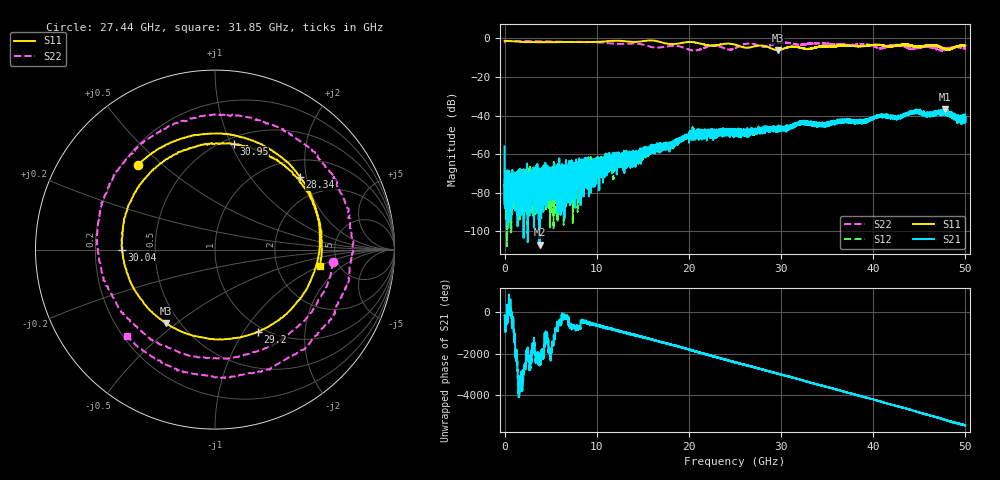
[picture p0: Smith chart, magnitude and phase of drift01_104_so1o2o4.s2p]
!Created with skrf (http://scikit-rf.org).
# Hz S RI R 50.0
!freq ReS11 ImS11 ReS21 ImS21 ReS12 ImS12 ReS22 ImS22
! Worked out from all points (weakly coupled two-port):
!   10001 points, 300 kHz to 50 GHz, reference 50 ohm
!   highest |S21| = -36.76 dB at 47.75 GHz (marker M1); lowest = -107.0 dB at 3.79 GHz (marker M2)
!   lowest |S11| = -6.2 dB at 29.63 GHz (marker M3), VSWR 2.93, Z = 21.2 - j22.8 ohm
!   |S11| at or under -10 dB: nowhere
!   |S22| runs from -6.4 to -1.4 dB; largest |S21 - S12| = 0.0035
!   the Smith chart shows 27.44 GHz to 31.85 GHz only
!   S11 on the Smith chart (normalised r, x): 27.44 GHz: 0.26, +0.41; 28.34 GHz: 1.39, +1.83; 29.2 GHz: 0.93, -1.16; 30.04 GHz: 0.32, -0.00; 30.95 GHz: 0.56, +1.02; 31.85 GHz: 3.60, -1.03
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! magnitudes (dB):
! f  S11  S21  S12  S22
! 300 kHz  -1.3  -56.0  -67.3  -2.1
! 255.3 MHz  -1.4  -95.2  -92.2  -1.4
! 2.085 GHz  -1.9  -91.5  -76.4  -1.4
! 2.88 GHz  -2.0  -71.3  -73.6  -1.4
! 3.79 GHz  -2.0  -107.0  -72.8  -1.5
! 8.335 GHz  -2.0  -72.2  -67.4  -1.8
! 16.67 GHz  -1.6  -56.2  -57.0  -4.8
! 20.34 GHz  -1.9  -48.4  -48.8  -6.2
! 22.61 GHz  -3.8  -50.8  -50.6  -3.8
! 25 GHz  -3.3  -48.9  -48.4  -5.1
! 27.44 GHz  -3.9  -48.6  -47.6  -3.6
! 28.34 GHz  -4.1  -47.6  -47.1  -4.3
! 29.2 GHz  -5.7  -45.8  -46.6  -3.1
! 29.63 GHz  -6.2  -46.7  -47.2  -2.5
! 30.04 GHz  -5.7  -47.6  -45.8  -2.3
! 30.95 GHz  -4.5  -46.8  -46.5  -2.5
! 31.85 GHz  -4.5  -44.3  -44.7  -3.3
! 33.34 GHz  -5.2  -45.0  -44.5  -2.6
! 41.67 GHz  -4.2  -40.7  -40.6  -4.0
! 46.49 GHz  -3.4  -38.5  -40.0  -4.9
! 47.75 GHz  -5.6  -36.8  -38.7  -5.4
! 50 GHz  -3.8  -40.8  -41.4  -5.4
